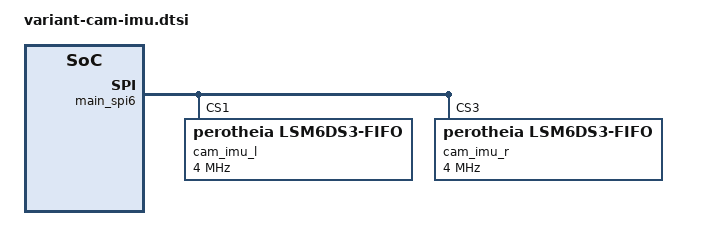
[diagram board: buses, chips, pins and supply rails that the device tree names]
/*
 * Build variant "cam-imu" (setup/ardupilot-ai64.sh VARIANT=cam-imu, combinable: VARIANT=imu,cam-imu): two camera
 * IMUs (LSM6DS3) on McSPI6, left on CS1 (P9_23), right on CS3 (P8_21), 4 MHz, mode 3, read by cam_imu.c and
 * forwarded on RPMsg "imu-cam". SCLK/MOSI/MISO = P9_22/P9_21/P9_18 (BOOTMODE1 on P9_22: no pull-down). INT1 pins
 * P9_11/P9_13 muxed on GPIO2 for later (polled FIFO for now). Linux must leave main_spi6 and these pads alone
 * (ai64-r5f-cam-imu.dtso).
 */
&main_spi6 {
	pinctrl-0 = <&mcspi6_default &mcspi6_cs3_default>;
	pinctrl-names = "default";
	ti,spi-num-cs = <4>;
	ti,d1-miso-d0-mosi;
	status = "okay";
	#address-cells = <1>;
	#size-cells = <0>;

	cam_imu_l: imu@1 {
		compatible = "perotheia,lsm6ds3-fifo";
		reg = <1>;
		spi-max-frequency = <4000000>;
		label-id = <0>;
	};

	cam_imu_r: imu@3 {
		compatible = "perotheia,lsm6ds3-fifo";
		reg = <3>;
		spi-max-frequency = <4000000>;
		label-id = <1>;
	};
};

&main_gpio2_0 {
	pinctrl-0 = <&motor_gpio_default &cam_imu_int_default>;
};
